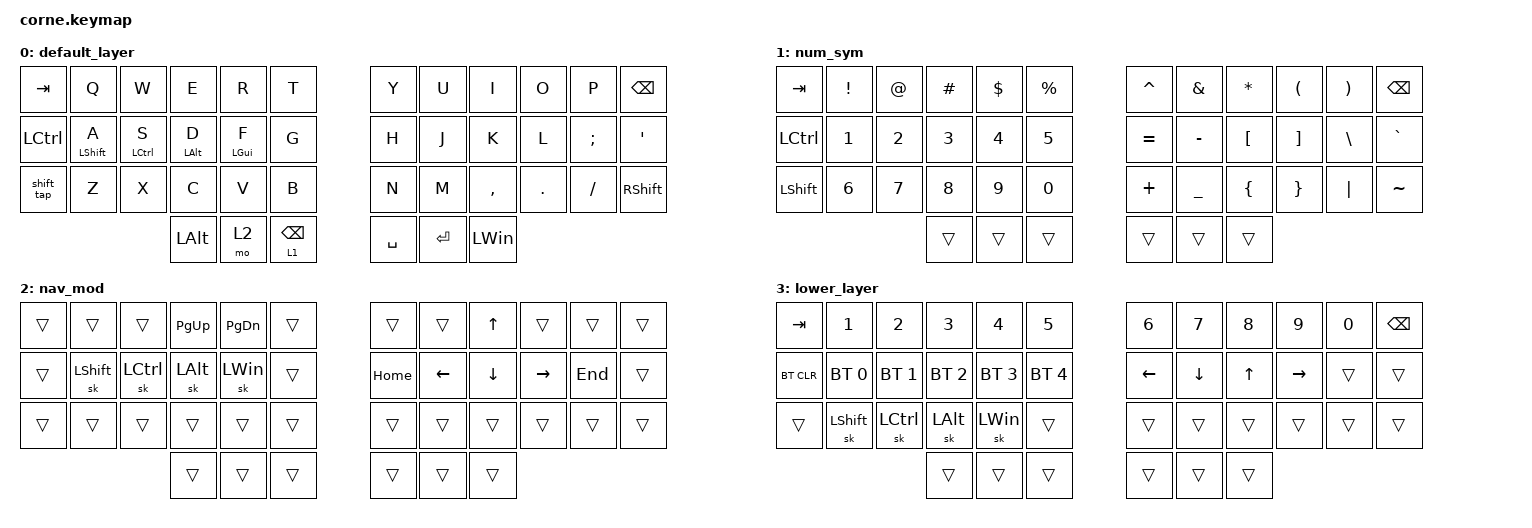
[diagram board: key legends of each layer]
/*
 * Copyright (c) 2020 The ZMK Contributors
 *
 * SPDX-License-Identifier: MIT
 */

#include "../zmk-nodefree-config/helper.h"
#include <behaviors.dtsi>
#include <dt-bindings/zmk/bt.h>
#include <dt-bindings/zmk/keys.h>

/ {
    behaviors {
        hml: hml {
            compatible = "zmk,behavior-hold-tap";
            label = "HML";
            bindings = <&kp>, <&kp>;

            #binding-cells = <2>;
            tapping-term-ms = <280>;
            quick-tap-ms = <175>;
            require-prior-idle-ms = <150>;
            flavor = "balanced";
            hold-trigger-key-positions = <6 7 9 10 11 18 19 20 21 22 23 30 31 32 33 34 35 40 41 8 39 36 38 37>;
            hold-trigger-on-release;
        };

        hmr: hmr {
            compatible = "zmk,behavior-hold-tap";
            label = "HMR";
            bindings = <&kp>, <&kp>;

            #binding-cells = <2>;
            tapping-term-ms = <280>;
            quick-tap-ms = <175>;
            require-prior-idle-ms = <150>;
            flavor = "balanced";
            hold-trigger-on-release;
            hold-trigger-key-positions = <0 1 5 12 13 14 15 16 17 24 25 26 27 28 29 36 37 38 2 3 4 39 40 41>;
        };

        caps_word: caps_word {
            compatible = "zmk,behavior-caps-word";
            label = "CAPS_WORD";
            #binding-cells = <0>;
            continue-list = <UNDERSCORE MINUS>;
        };

        shift_tap: shift_tap {
            compatible = "zmk,behavior-tap-dance";
            label = "SHIFT_TAP";
            #binding-cells = <0>;
            bindings = <&kp LEFT_SHIFT>, <&caps_word>;
        };

        thumb_taphold: thumb_taphold {
            compatible = "zmk,behavior-hold-tap";
            label = "THUMB_TAPHOLD";
            bindings = <&mo>, <&kp>;

            #binding-cells = <2>;
            tapping-term-ms = <280>;
            quick-tap-ms = <175>;
            flavor = "hold-preferred";
        };
    };

    combos {
        compatible = "zmk,combos";

        tab {
            bindings = <&kp TAB>;
            key-positions = <15 16>;
        };

        grave {
            bindings = <&kp GRAVE>;
            key-positions = <15 14>;
            require-prior-idle-ms = <150>;
        };
    };

    keymap {
        compatible = "zmk,keymap";

        default_layer {
            // -----------------------------------------------------------------------------------------
            // |  TAB |  Q  |  W  |  E  |  R  |  T  |   |  Y  |  U   |  I  |  O  |  P  | BKSP |
            // | CTRL |  A  |  S  |  D  |  F  |  G  |   |  H  |  J   |  K  |  L  |  ;  |  '   |
            // | SHFT |  Z  |  X  |  C  |  V  |  B  |   |  N  |  M   |  ,  |  .  |  /  | ESC  |
            //                    | GUI | LWR | SPC |   | ENT | RSE  | ALT |

            bindings = <
&kp TAB     &kp Q              &kp W                &kp E            &kp R            &kp T                         &kp Y      &kp U      &kp I         &kp O    &kp P     &kp BSPC
&kp LCTRL   &hml LEFT_SHIFT A  &hml LEFT_CONTROL S  &hml LEFT_ALT D  &hml LEFT_GUI F  &kp G                         &kp H      &kp J      &kp K         &kp L    &kp SEMI  &kp SQT
&shift_tap  &kp Z              &kp X                &kp C            &kp V            &kp B                         &kp N      &kp M      &kp COMMA     &kp DOT  &kp FSLH  &kp RIGHT_SHIFT
                                                    &kp LEFT_ALT     &mo 2            &thumb_taphold 1 BACKSPACE    &kp SPACE  &kp ENTER  &kp LEFT_WIN
            >;
        };

        num_sym {
            // -----------------------------------------------------------------------------------------
            // |  TAB |  !  |  @  |  #  |  $  |  %  |   |  ^  |  &  |  *  |  (  |  )  | BKSP |
            // | CTRL |     |     |     |     |     |   |  -  |  =  |  [  |  ]  |  \  |  `   |
            // | SHFT |     |     |     |     |     |   |  _  |  +  |  {  |  }  | "|" |  ~   |
            //                    | GUI |     | SPC |   | ENT |     | ALT |

            bindings = <
&kp TAB    &kp EXCL      &kp AT        &kp HASH      &kp DLLR      &kp PRCNT       &kp CARET  &kp AMPS        &kp ASTRK  &kp LPAR  &kp RPAR  &kp BSPC
&kp LCTRL  &kp NUMBER_1  &kp NUMBER_2  &kp NUMBER_3  &kp NUMBER_4  &kp NUMBER_5    &kp EQUAL  &kp MINUS       &kp LBKT   &kp RBKT  &kp BSLH  &kp GRAVE
&kp LSHFT  &kp NUMBER_6  &kp NUMBER_7  &kp NUMBER_8  &kp NUMBER_9  &kp NUMBER_0    &kp PLUS   &kp UNDERSCORE  &kp LBRC   &kp RBRC  &kp PIPE  &kp TILDE
                                       &trans        &trans        &trans          &trans     &trans          &trans
            >;
        };

        nav_mod {
            bindings = <
&trans  &trans          &trans            &kp PAGE_UP   &kp PAGE_DOWN  &trans    &trans    &trans          &kp UP_ARROW    &trans           &trans   &trans
&trans  &sk LEFT_SHIFT  &sk LEFT_CONTROL  &sk LEFT_ALT  &sk LEFT_WIN   &trans    &kp HOME  &kp LEFT_ARROW  &kp DOWN_ARROW  &kp RIGHT_ARROW  &kp END  &trans
&trans  &trans          &trans            &trans        &trans         &trans    &trans    &trans          &trans          &trans           &trans   &trans
                                          &trans        &trans         &trans    &trans    &trans          &trans
            >;
        };

        lower_layer {
            // -----------------------------------------------------------------------------------------
            // |  TAB |  1  |  2  |  3  |  4  |  5  |   |  6  |  7  |  8  |  9  |  0  | BKSP |
            // | BTCLR| BT1 | BT2 | BT3 | BT4 | BT5 |   | LFT | DWN |  UP | RGT |     |      |
            // | SHFT |     |     |     |     |     |   |     |     |     |     |     |      |
            //                    | GUI |     | SPC |   | ENT |     | ALT |

            bindings = <
&kp TAB     &kp N1          &kp N2            &kp N3        &kp N4        &kp N5          &kp N6    &kp N7    &kp N8  &kp N9     &kp N0  &kp BSPC
&bt BT_CLR  &bt BT_SEL 0    &bt BT_SEL 1      &bt BT_SEL 2  &bt BT_SEL 3  &bt BT_SEL 4    &kp LEFT  &kp DOWN  &kp UP  &kp RIGHT  &trans  &trans
&trans      &sk LEFT_SHIFT  &sk LEFT_CONTROL  &sk LEFT_ALT  &sk LEFT_WIN  &trans          &trans    &trans    &trans  &trans     &trans  &trans
                                              &trans        &trans        &trans          &trans    &trans    &trans
            >;
        };
    };
};
